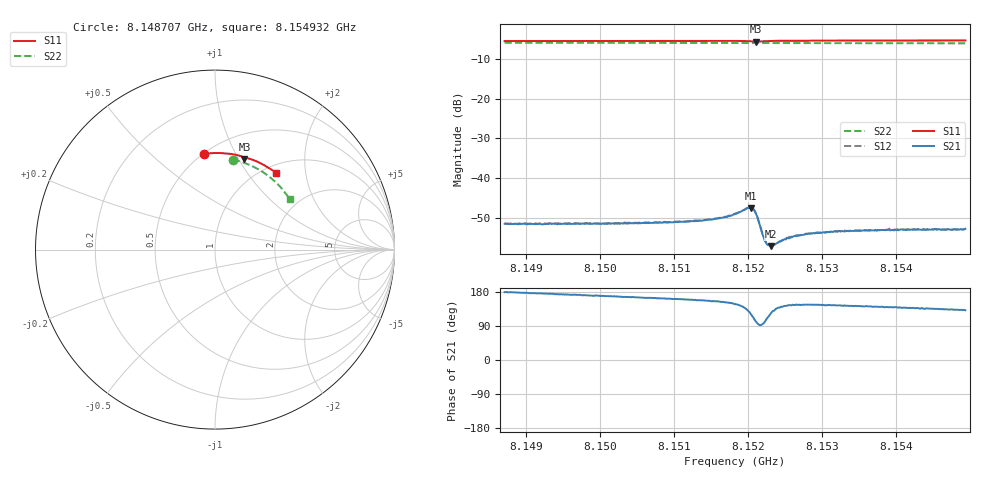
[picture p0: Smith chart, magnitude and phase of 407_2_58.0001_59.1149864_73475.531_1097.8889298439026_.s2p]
#  HZ  S  RI  R  50.00
! Rohde & Schwarz Vector Network Analyzer
! Rohde-Schwarz,ZNB20-2Port,1311601062101988,3.16
! Created: UTC 3/21/2024, 1:08:29 AM
! freq[Hz]  re:S11  im:S11  re:S21  im:S21  re:S12  im:S12  re:S22  im:S22
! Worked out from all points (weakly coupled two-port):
!   401 points, 8.148707 GHz to 8.154932 GHz, reference 50 ohm
!   highest |S21| = -47.55 dB at 8.152038 GHz (marker M1); lowest = -57.2 dB at 8.152302 GHz (marker M2)
!   lowest |S11| = -5.5 dB at 8.1521 GHz (marker M3), VSWR 3.24, Z = 37.9 + j52.8 ohm
!   |S11| at or under -10 dB: nowhere
!   |S22| runs from -6.0 to -5.8 dB; largest |S21 - S12| = 0.00012
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8.1487075e9  -0.0638 0.5326  -0.00263 4.92e-05  -0.00269 4.17e-05  0.099 0.5019
8.1497501e9  0.00872 0.5382  -0.00261 0.00042  -0.00262 0.000471  0.1638 0.483
8.1507928e9  0.0812 0.5338  -0.00261 0.000806  -0.00262 0.000844  0.2251 0.4562
8.1511818e9  0.1082 0.5295  -0.00264 0.000978  -0.00265 0.00105  0.2469 0.4442
8.1514931e9  0.13 0.5247  -0.0027 0.00124  -0.00274 0.00127  0.2638 0.4336
8.1516798e9  0.1435 0.5212  -0.00283 0.00147  -0.00285 0.00154  0.2738 0.427
8.1518198e9  0.1539 0.5173  -0.00294 0.00187  -0.00298 0.00192  0.2811 0.4219
8.151991e9  0.1654 0.5082  -0.00273 0.00313  -0.00272 0.0032  0.2899 0.4154
8.1520377e9  0.1662 0.5044  -0.00211 0.00362  -0.00211 0.0037  0.2922 0.4134
8.1520688e9  0.1652 0.5027  -0.00147 0.00372  -0.00145 0.00378  0.2937 0.4123
8.1521e9  0.1638 0.5025  -0.000755 0.0035  -0.000709 0.00356  0.2951 0.4112
8.1521933e9  0.1657 0.5077  -0.000165 0.0019  -0.000134 0.00193  0.2998 0.408
8.1522245e9  0.1682 0.5087  -0.00031 0.00157  -0.000324 0.00159  0.3014 0.4068
8.1522556e9  0.1708 0.5094  -0.000501 0.00135  -0.000448 0.00138  0.3029 0.4056
8.1523023e9  0.1749 0.5096  -0.000743 0.00116  -0.000746 0.00121  0.3055 0.4039
8.1523489e9  0.1788 0.5093  -0.000922 0.0011  -0.000918 0.00109  0.3077 0.4019
8.1525357e9  0.1932 0.506  -0.00141 0.00102  -0.0014 0.00103  0.317 0.3944
8.1526446e9  0.2008 0.5036  -0.00152 0.00102  -0.00155 0.00107  0.3222 0.3899
8.1528625e9  0.2156 0.498  -0.00164 0.0011  -0.00167 0.00112  0.3325 0.3808
8.1532515e9  0.2407 0.4873  -0.00171 0.00126  -0.00168 0.00126  0.3502 0.3636
8.1539051e9  0.2811 0.4663  -0.00167 0.00144  -0.00175 0.00148  0.3778 0.3331
8.1549322e9  0.3402 0.4271  -0.00151 0.00172  -0.00149 0.0017  0.4158 0.2814
